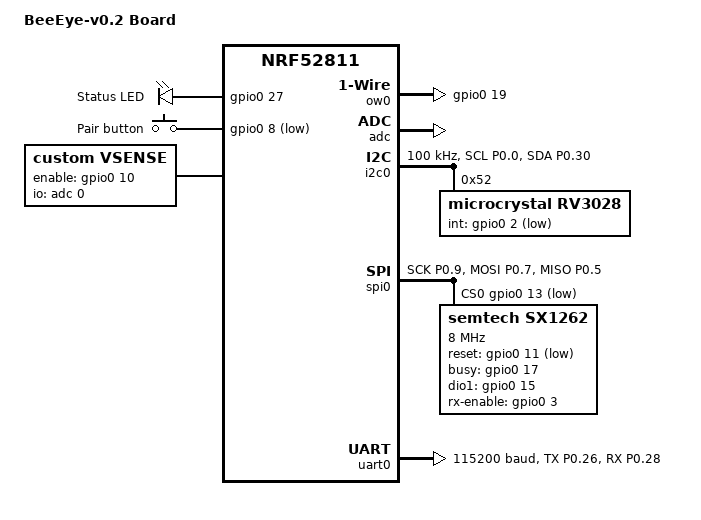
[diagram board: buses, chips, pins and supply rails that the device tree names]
/dts-v1/;
#include <nordic/nrf52811_qfaa.dtsi>
#include "BeeEye-pinctrl.dtsi"

/ {
	model = "BeeEye-v0.2 Board";
	compatible = "Myself,BeeEye";

	chosen {
		zephyr,console = &uart0;
		zephyr,sram = &sram0;
		zephyr,flash = &flash0;
		zephyr,code-partition = &slot0_partition;
	};

	leds {
		compatible = "gpio-leds";

		status_led: led_0 {
			gpios = <&gpio0 27 GPIO_ACTIVE_HIGH>;
			label = "Status LED";
		};
	};

	buttons {
		compatible = "gpio-keys";

		pair_button: button_0 {
			gpios = <&gpio0 8 (GPIO_PULL_UP | GPIO_ACTIVE_LOW)>;
			label = "Pair button";
			zephyr,code = <INPUT_KEY_0>;
		};
	};

    vsense {
        compatible = "custom,vsense";
        enable-gpios = <&gpio0 10 GPIO_ACTIVE_HIGH>;
        io-channels = <&adc 0>; /* example channel index */
        label = "VSENSE";
    };

    ow0: w1 {
        compatible = "zephyr,w1-gpio";
        gpios = <&gpio0 19 (GPIO_ACTIVE_HIGH | GPIO_OPEN_DRAIN | GPIO_PULL_UP)>;
        label = "ONEWIRE_0";
    };
};

&uicr {
    // configures P0.21 as reset
	gpio-as-nreset;
};

&adc {
    status = "okay";
};

&clock {
	status = "okay";
	lfclk {
		source = "LFRC";
		cal-enabled = <1>;
	};
};

&reg {
	regulator-initial-mode = <NRF5X_REG_MODE_DCDC>;
};

&gpiote {
	status = "okay";
};


&gpio0 {
    status = "okay";
};

&pinctrl {
    /* I2C0 */
    i2c0_default: i2c0_default {
        group1 {
            psels = <NRF_PSEL(TWIM_SCL, 0, 0)>,
                    <NRF_PSEL(TWIM_SDA, 0, 30)>;
        };
    };

    i2c0_sleep: i2c0_sleep {
        group1 {
            psels = <NRF_PSEL(TWIM_SCL, 0, 0)>,
                    <NRF_PSEL(TWIM_SDA, 0, 30)>;
            low-power-enable;
        };
    };

    /* SPI0 */
    spi0_default: spi0_default {
        group1 {
            psels = <NRF_PSEL(SPIM_SCK, 0, 9)>,
                    <NRF_PSEL(SPIM_MOSI, 0, 7)>,
                    <NRF_PSEL(SPIM_MISO, 0, 5)>;
        };
    };

    spi0_sleep: spi0_sleep {
        group1 {
            psels = <NRF_PSEL(SPIM_SCK, 0, 9)>,
                    <NRF_PSEL(SPIM_MOSI, 0, 7)>,
                    <NRF_PSEL(SPIM_MISO, 0, 5)>;
            low-power-enable;
        };
    };

    /* UART0 */
    uart0_default: uart0_default {
        group1 {
            psels = <NRF_PSEL(UART_TX, 0, 26)>,
                    <NRF_PSEL(UART_RX, 0, 28)>;
        };
    };

    uart0_sleep: uart0_sleep {
        group1 {
            psels = <NRF_PSEL(UART_TX, 0, 26)>,
                    <NRF_PSEL(UART_RX, 0, 28)>;
            low-power-enable;
        };
    };
};

&i2c0 {
    compatible = "nordic,nrf-twim";
    pinctrl-0 = <&i2c0_default>;
    pinctrl-1 = <&i2c0_sleep>;
    pinctrl-names = "default", "sleep";
    status = "okay";
	clock-frequency = <I2C_BITRATE_STANDARD>;

	/* RV-3028-C7 real-time clock */
    rv3028: rv3028@52 {
		status = "okay";
        compatible = "microcrystal,rv3028";
        reg = <0x52>;
        int-gpios = <&gpio0 2 (GPIO_PULL_UP | GPIO_ACTIVE_LOW)>;
        label = "RV3028";
		backup-switch-mode = "level";
		trickle-resistor-ohms = <15000>;
		// zephyr,deferred-init;
    };
};

&spi0 {
    compatible = "nordic,nrf-spim";
    pinctrl-0 = <&spi0_default>;
    pinctrl-1 = <&spi0_sleep>;
    pinctrl-names = "default", "sleep";
    cs-gpios = <&gpio0 13 GPIO_ACTIVE_LOW>;
    status = "okay";
    sx1262: sx1262@0 {
        compatible = "semtech,sx1262";
        reg = <0>;
        status = "okay";
        spi-max-frequency = <8000000>;

        reset-gpios = <&gpio0 11 GPIO_ACTIVE_LOW>;
        busy-gpios  = <&gpio0 17 GPIO_ACTIVE_HIGH>;
        dio1-gpios  = <&gpio0 15 GPIO_ACTIVE_HIGH>;
        rx-enable-gpios = <&gpio0 3 GPIO_ACTIVE_HIGH>;
        dio2-tx-enable;
        /*
            Acceptable TXCO voltage constants:
            #define SX126X_DIO3_TCXO_1V6	0x00
            #define SX126X_DIO3_TCXO_1V7	0x01
            #define SX126X_DIO3_TCXO_1V8	0x02
            #define SX126X_DIO3_TCXO_2V2	0x03
            #define SX126X_DIO3_TCXO_2V4	0x04
            #define SX126X_DIO3_TCXO_2V7	0x05
            #define SX126X_DIO3_TCXO_3V0	0x06
            #define SX126X_DIO3_TCXO_3V3	0x07
         */
        dio3-tcxo-voltage = <2>; 
        tcxo-power-startup-delay-ms = <500>;
        label = "SX1262";
    };
};

&uart0 {
    compatible = "nordic,nrf-uarte";
    pinctrl-0 = <&uart0_default>;
    pinctrl-1 = <&uart0_sleep>;
    pinctrl-names = "default", "sleep";
    status = "okay";
	current-speed = <115200>;
};

&flash0 {
	partitions {
		compatible = "fixed-partitions";
		#address-cells = <1>;
		#size-cells = <1>;

		boot_partition: partition@0 {
			label = "mcuboot";
			reg = <0x00000000 DT_SIZE_K(48)>;
		};

		slot0_partition: partition@c000 {
			label = "image-0";
			reg = <0x0000c000 DT_SIZE_K(56)>;
		};

		slot1_partition: partition@1a000 {
			label = "image-1";
			reg = <0x0001a000 DT_SIZE_K(56)>;
		};

		storage_partition: partition@28000 {
			label = "storage";
			reg = <0x00028000 DT_SIZE_K(32)>;
		};
	};
};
